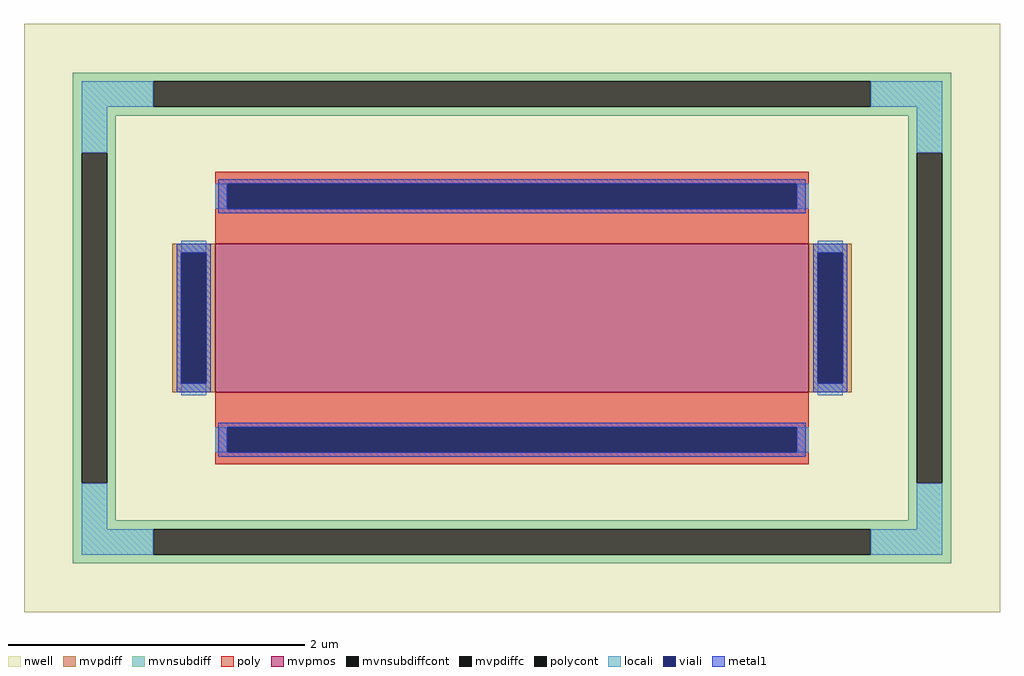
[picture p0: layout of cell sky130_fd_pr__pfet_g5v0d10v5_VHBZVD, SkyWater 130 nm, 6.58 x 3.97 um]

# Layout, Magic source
magic
tech sky130A
magscale 1 2
<< nwell >>
rect -658 -397 658 397
<< mvpmos >>
rect -400 -100 400 100
<< mvpdiff >>
rect -458 88 -400 100
rect -458 -88 -446 88
rect -412 -88 -400 88
rect -458 -100 -400 -88
rect 400 88 458 100
rect 400 -88 412 88
rect 446 -88 458 88
rect 400 -100 458 -88
<< mvpdiffc >>
rect -446 -88 -412 88
rect 412 -88 446 88
<< mvnsubdiff >>
rect -592 319 592 331
rect -592 285 -484 319
rect 484 285 592 319
rect -592 273 592 285
rect -592 223 -534 273
rect -592 -223 -580 223
rect -546 -223 -534 223
rect 534 223 592 273
rect -592 -273 -534 -223
rect 534 -223 546 223
rect 580 -223 592 223
rect 534 -273 592 -223
rect -592 -285 592 -273
rect -592 -319 -484 -285
rect 484 -319 592 -285
rect -592 -331 592 -319
<< mvnsubdiffcont >>
rect -484 285 484 319
rect -580 -223 -546 223
rect 546 -223 580 223
rect -484 -319 484 -285
<< poly >>
rect -400 181 400 197
rect -400 147 -384 181
rect 384 147 400 181
rect -400 100 400 147
rect -400 -147 400 -100
rect -400 -181 -384 -147
rect 384 -181 400 -147
rect -400 -197 400 -181
<< polycont >>
rect -384 147 384 181
rect -384 -181 384 -147
<< locali >>
rect -580 285 -484 319
rect 484 285 580 319
rect -580 223 -546 285
rect 546 223 580 285
rect -400 147 -384 181
rect 384 147 400 181
rect -446 88 -412 104
rect -446 -104 -412 -88
rect 412 88 446 104
rect 412 -104 446 -88
rect -400 -181 -384 -147
rect 384 -181 400 -147
rect -580 -285 -546 -223
rect 546 -285 580 -223
rect -580 -319 -484 -285
rect 484 -319 580 -285
<< viali >>
rect -384 147 384 181
rect -446 -88 -412 88
rect 412 -88 446 88
rect -384 -181 384 -147
<< metal1 >>
rect -396 181 396 187
rect -396 147 -384 181
rect 384 147 396 181
rect -396 141 396 147
rect -452 88 -406 100
rect -452 -88 -446 88
rect -412 -88 -406 88
rect -452 -100 -406 -88
rect 406 88 452 100
rect 406 -88 412 88
rect 446 -88 452 88
rect 406 -100 452 -88
rect -396 -147 396 -141
rect -396 -181 -384 -147
rect 384 -181 396 -147
rect -396 -187 396 -181
<< properties >>
string FIXED_BBOX -563 -302 563 302
string gencell sky130_fd_pr__pfet_g5v0d10v5
string library sky130
string parameters w 1.0 l 4.0 m 1 nf 1 diffcov 100 polycov 100 guard 1 glc 1 grc 1 gtc 1 gbc 1 tbcov 100 rlcov 100 topc 1 botc 1 poverlap 0 doverlap 1 lmin 0.50 wmin 0.42 compatible {sky130_fd_pr__pfet_01v8  sky130_fd_pr__pfet_01v8_lvt sky130_fd_pr__pfet_01v8_hvt  sky130_fd_pr__pfet_g5v0d10v5} full_metal 1 viasrc 100 viadrn 100 viagate 100 viagb 0 viagr 0 viagl 0 viagt 0
<< end >>
